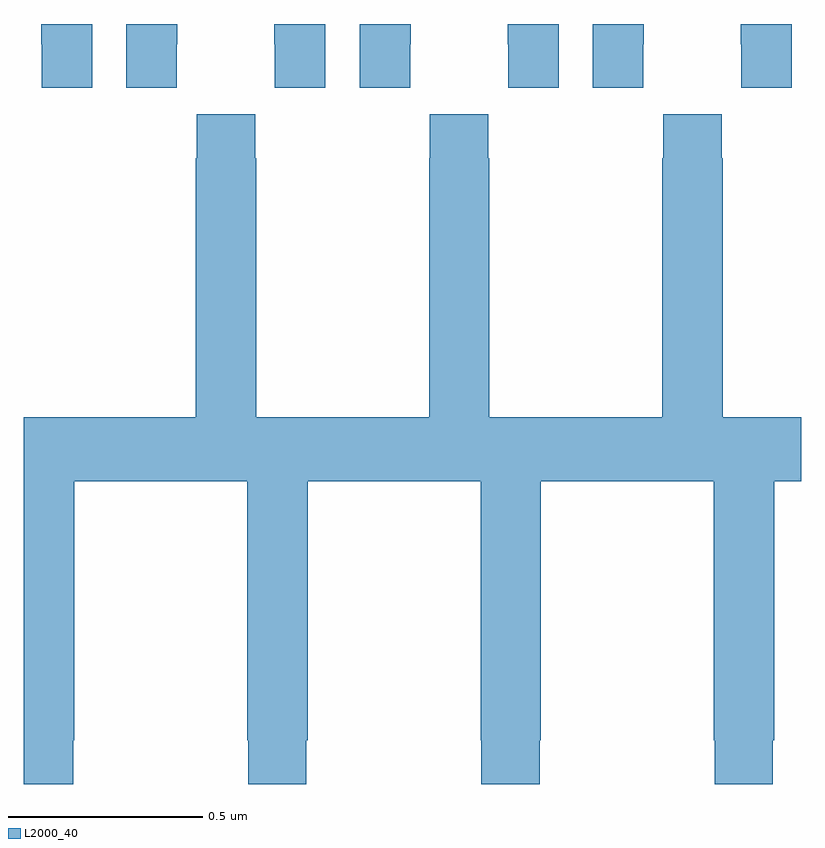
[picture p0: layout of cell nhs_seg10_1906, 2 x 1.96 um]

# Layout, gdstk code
import gdstk
lib = gdstk.Library(unit=1e-6, precision=1e-09)
def P(c, l, *ps):  # polygons
    for p in ps: c.add(gdstk.Polygon(p, *l))
L2000_40 = (2000, 40)

nhs_seg10_1906 = lib.new_cell('nhs_seg10_1906')
P(nhs_seg10_1906, L2000_40, [(134.176,1293.5),(134.045,1293.5),(134.045,1293.448),(134.046,1293.448),(134.046,1293.336),(134.176,1293.336)],
  [(134.394,1293.448),(134.395,1293.448),(134.395,1293.5),(134.264,1293.5),(134.264,1293.336),(134.394,1293.336)],
  [(134.776,1293.5),(134.645,1293.5),(134.645,1293.448),(134.646,1293.448),(134.646,1293.336),(134.776,1293.336)],
  [(134.994,1293.448),(134.995,1293.448),(134.995,1293.5),(134.864,1293.5),(134.864,1293.336),(134.994,1293.336)],
  [(135.376,1293.5),(135.245,1293.5),(135.245,1293.448),(135.246,1293.448),(135.246,1293.336),(135.376,1293.336)],
  [(135.594,1293.448),(135.595,1293.448),(135.595,1293.5),(135.464,1293.5),(135.464,1293.336),(135.594,1293.336)],
  [(135.976,1293.5),(135.845,1293.5),(135.845,1293.448),(135.846,1293.448),(135.846,1293.336),(135.976,1293.336)],
  [(135.175,1291.657),(135.177,1291.657),(135.177,1291.545),(135.327,1291.545),(135.327,1291.657),(135.33,1291.657),(135.33,1292.324),(135.775,1292.324),(135.775,1291.657),(135.777,1291.657),(135.777,1291.545),(135.927,1291.545),(135.927,1291.657),(135.93,1291.657),(135.93,1292.324),(136,1292.324),(136,1292.488),(135.798,1292.488),(135.798,1293.155),(135.795,1293.155),(135.795,1293.268),(135.645,1293.268),(135.645,1293.155),(135.643,1293.155),(135.643,1292.488),(135.198,1292.488),(135.198,1293.155),(135.195,1293.155),(135.195,1293.268),(135.045,1293.268),(135.045,1293.155),(135.043,1293.155),(135.043,1292.488),(134.598,1292.488),(134.598,1293.155),(134.595,1293.155),(134.595,1293.268),(134.445,1293.268),(134.445,1293.155),(134.443,1293.155),(134.443,1292.488),(134,1292.488),(134,1291.545),(134.127,1291.545),(134.127,1291.657),(134.13,1291.657),(134.13,1292.324),(134.575,1292.324),(134.575,1291.657),(134.577,1291.657),(134.577,1291.545),(134.727,1291.545),(134.727,1291.657),(134.73,1291.657),(134.73,1292.324),(135.175,1292.324)])

lib.write_gds('nhs_seg10_1906.gds')
